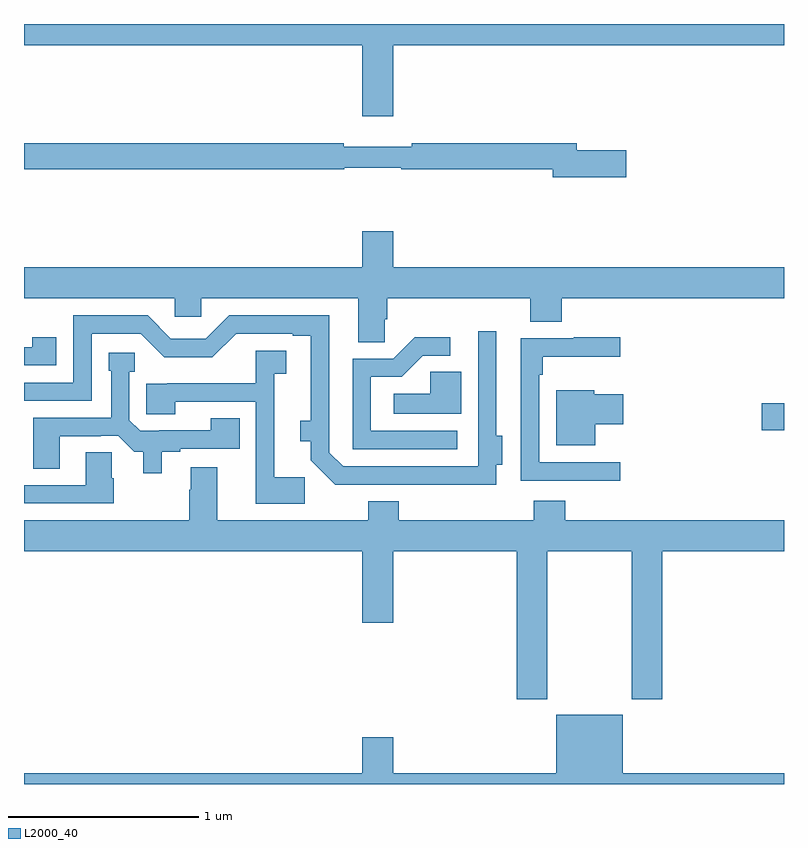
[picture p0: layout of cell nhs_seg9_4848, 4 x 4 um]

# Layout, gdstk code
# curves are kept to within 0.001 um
import gdstk
lib = gdstk.Library(unit=1e-6, precision=1e-09)
def R(c, l, rs):  # rectangles x0, y0, x1, y1
    for r in rs: c.add(gdstk.rectangle(r[:2], r[2:], *l))
def P(c, l, *ps):  # polygons
    for p in ps: c.add(gdstk.Polygon(p, *l))
L2000_40 = (2000, 40)

nhs_seg9_4848 = lib.new_cell('nhs_seg9_4848')
R(nhs_seg9_4848, L2000_40, [(394.884,1226.362,395,1226.504)])
P(nhs_seg9_4848, L2000_40, [(392.944,1228.388),(395,1228.388),(395,1228.5),(391,1228.5),(391,1228.388),(392.78,1228.388),(392.78,1228.014),(392.944,1228.014)],
  [(394.171,1227.836),(393.91,1227.836),(393.91,1227.872),(393.04,1227.872),(393.04,1227.853),(392.684,1227.853),(392.684,1227.872),(391,1227.872),(391,1227.736),(392.686,1227.736),(392.686,1227.744),(392.986,1227.744),(392.986,1227.736),(393.782,1227.736),(393.782,1227.694),(394.171,1227.694)],
  [(391,1227.056),(391.794,1227.056),(391.794,1226.958),(391.932,1226.958),(391.932,1227.056),(392.759,1227.056),(392.759,1226.824),(392.898,1226.824),(392.898,1226.947),(392.912,1226.947),(392.912,1227.056),(393.665,1227.056),(393.665,1226.932),(393.83,1226.932),(393.83,1227.056),(395,1227.056),(395,1227.22),(392.944,1227.22),(392.944,1227.409),(392.78,1227.409),(392.78,1227.22),(391,1227.22)],
  [(392.74,1226.076),(393.486,1226.075),(393.486,1226.18),(393.517,1226.18),(393.517,1226.333),(393.486,1226.333),(393.486,1226.884),(393.39,1226.884),(393.39,1226.172),(392.679,1226.172),(392.607,1226.244),(392.607,1226.967),(392.079,1226.967),(391.956,1226.844),(391.773,1226.844),(391.65,1226.967),(391.26,1226.967),(391.26,1226.613),(391,1226.613),(391,1226.517),(391.356,1226.517),(391.356,1226.871),(391.614,1226.871),(391.738,1226.747),(391.992,1226.747),(392.116,1226.871),(392.414,1226.871),(392.414,1226.859),(392.51,1226.859),(392.51,1226.413),(392.453,1226.413),(392.453,1226.303),(392.51,1226.303),(392.51,1226.204),(392.639,1226.075)],
  [(393.28,1226.358),(392.826,1226.358),(392.826,1226.643),(392.988,1226.643),(393.099,1226.754),(393.244,1226.754),(393.244,1226.852),(393.056,1226.852),(392.943,1226.739),(392.73,1226.739),(392.73,1226.262),(393.28,1226.262)],
  [(391.171,1226.851),(391.043,1226.851),(391.043,1226.8),(391,1226.8),(391,1226.703),(391.171,1226.703)],
  [(394.138,1226.193),(393.711,1226.193),(393.711,1226.654),(393.731,1226.654),(393.731,1226.75),(394.138,1226.75),(394.138,1226.851),(393.893,1226.851),(393.893,1226.847),(393.615,1226.847),(393.615,1226.097),(394.138,1226.097)],
  [(392.478,1226.115),(392.317,1226.115),(392.317,1226.658),(392.38,1226.658),(392.38,1226.779),(392.22,1226.779),(392.22,1226.608),(391.753,1226.608),(391.753,1226.607),(391.643,1226.607),(391.643,1226.446),(391.797,1226.446),(391.797,1226.511),(392.22,1226.511),(392.22,1225.976),(392.478,1225.976)],
  [(391.726,1226.25),(391.822,1226.25),(391.822,1226.265),(392.135,1226.265),(392.135,1226.426),(391.984,1226.426),(391.984,1226.361),(391.711,1226.361),(391.711,1226.358),(391.611,1226.358),(391.554,1226.415),(391.554,1226.671),(391.584,1226.671),(391.584,1226.769),(391.445,1226.769),(391.445,1226.676),(391.458,1226.676),(391.458,1226.427),(391.049,1226.427),(391.049,1226.158),(391.189,1226.158),(391.189,1226.331),(391.403,1226.331),(391.403,1226.334),(391.497,1226.334),(391.581,1226.25),(391.628,1226.25),(391.628,1226.136),(391.726,1226.136)],
  [(393.301,1226.669),(393.138,1226.669),(393.138,1226.554),(392.946,1226.554),(392.946,1226.45),(393.301,1226.45)],
  [(394.006,1226.393),(394.153,1226.393),(394.153,1226.551),(394.002,1226.551),(394.002,1226.572),(393.8,1226.572),(393.8,1226.282),(394.006,1226.282)],
  [(391.473,1226.109),(391.463,1226.109),(391.463,1226.246),(391.325,1226.246),(391.325,1226.073),(391,1226.073),(391,1225.977),(391.473,1225.977)],
  [(393.753,1225.724),(394.198,1225.724),(394.198,1224.945),(394.358,1224.945),(394.358,1225.724),(395,1225.724),(395,1225.888),(393.848,1225.888),(393.848,1225.99),(393.683,1225.99),(393.683,1225.888),(392.972,1225.888),(392.972,1225.987),(392.812,1225.987),(392.812,1225.888),(392.017,1225.888),(392.017,1226.167),(391.877,1226.167),(391.877,1226.048),(391.87,1226.048),(391.87,1225.888),(391,1225.888),(391,1225.724),(392.78,1225.724),(392.78,1225.35),(392.944,1225.35),(392.944,1225.724),(393.593,1225.724),(393.593,1224.945),(393.753,1224.945)],
  [(395,1224.556),(394.15,1224.556),(394.15,1224.865),(393.8,1224.865),(393.8,1224.556),(392.944,1224.556),(392.944,1224.745),(392.78,1224.745),(392.78,1224.556),(391,1224.556),(391,1224.5),(395,1224.5)])

lib.write_gds('nhs_seg9_4848.gds')
